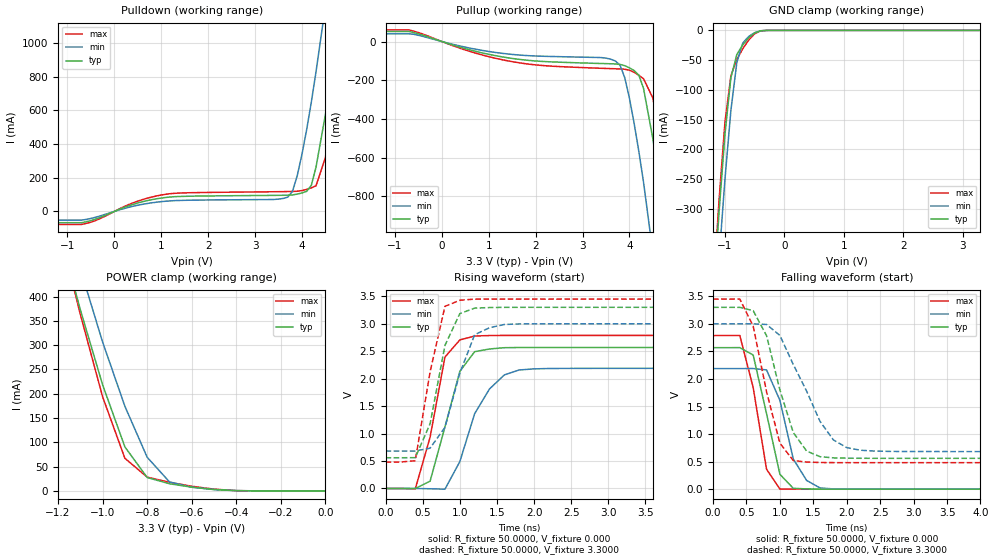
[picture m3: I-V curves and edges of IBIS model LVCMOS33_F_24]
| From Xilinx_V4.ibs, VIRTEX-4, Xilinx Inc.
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|   Model LVCMOS33_F_24
[Model]   LVCMOS33_F_24
Model_type   I/O
Polarity   Non-Inverting
Enable   Active-Low
Vinh = 2.0V
Vinl = 0.8V
Vmeas =   1.6500V
Cref =  0.000F
Rref =   1.0000M
Vref =  0.000V
C_comp   8.0000pF   8.0000pF   8.0000pF
[Temperature Range]   25.0000   85.0000   0.000
[Voltage Range]   3.3000V   3.0000V   3.4500V
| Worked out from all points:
|   slope of the pulldown table from 0 to 0.495 V, typ, clamps not added: 9.93 ohm
|   slope of the pullup table from 0 to 0.495 V, typ, clamps not added: 13.5 ohm
|   GND clamp passes 1 mA (typ) near -0.41 V on its own axis
|   POWER clamp passes 1 mA (typ) near -0.42 V on its own axis
|   rising waveform, R_fixture 50.0000, V_fixture 0.000: 20-80 % time 308ps typ, 392ps min, 258ps max; typ from 0 V to 2.57 V
|   rising waveform, R_fixture 50.0000, V_fixture 3.3000: 20-80 % time 273ps typ, 318ps min, 252ps max; typ from 0.56 V to 3.3 V
|   falling waveform, R_fixture 50.0000, V_fixture 0.000: 20-80 % time 284ps typ, 307ps min, 255ps max; typ from 2.57 V to 0 V
|   falling waveform, R_fixture 50.0000, V_fixture 3.3000: 20-80 % time 372ps typ, 554ps min, 331ps max; typ from 3.3 V to 0.56 V
[Pulldown]
| voltage   I(typ)   I(min)   I(max)
-3.3V     -66.77mA   -51.24mA   -76.94mA
-700mV    -66.77mA   -51.24mA   -76.94mA
1.1V      83.16mA    60.83mA    102mA
3.6V      95.97mA    77.24mA    117.6mA
3.8V      98.35mA    120mA      118.7mA
4.1V      119.2mA    484.2mA    130.8mA
4.2V      154.7mA    648.3mA    140mA
4.3V      262.9mA    828.5mA    152mA
4.5V      574mA      1.218A     319.5mA
4.7V      940.9mA    1.62A      674.2mA
4.9V      1.336A     2.022A     1.068A
6.6V      4.807A     5.455A     4.696A
[Pullup]
| voltage   I(typ)   I(min)   I(max)
-3.3V     52.17mA    39.91mA    60.09mA
-700mV    52.17mA    39.91mA    60.09mA
1.4V      -83.75mA   -64.15mA   -99.63mA
3.7V      -115.8mA   -100.7mA   -140.9mA
3.8V      -118.3mA   -122.6mA   -141.8mA
3.9V      -125mA     -187.1mA   -143.2mA
4.2V      -173.7mA   -568.3mA   -174.5mA
4.3V      -242.3mA   -727.1mA   -192.8mA
4.5V      -504mA     -1.094A    -292.2mA
4.7V      -837.5mA   -1.49A     -576.3mA
4.9V      -1.232A    -1.887A    -929.2mA
6.6V      -4.741A    -5.277A    -4.51A
[GND_clamp]
| voltage   I(typ)   I(min)   I(max)
-3.3V     -4.72A     -4.659A    -4.806A
-1.2V     -458.4mA   -535.2mA   -443.2mA
-1.1V     -307mA     -386mA     -286.5mA
-1V       -174.9mA   -250.6mA   -154.8mA
-900mV    -79.61mA   -134.7mA   -76.27mA
-800mV    -40.54mA   -53.98mA   -48.94mA
-700mV    -24.41mA   -21.32mA   -30.96mA
-600mV    -12.44mA   -10.24mA   -16.17mA
-500mV    -4.23mA    -3.859mA   -5.633mA
-400mV    -647uA     -794.1uA   -841.7uA
-300mV    -43.22uA   -80.71uA   -50.76uA
3.3V      335.4nA    78.77uA    333.2nA
[POWER_clamp]
| voltage   I(typ)   I(min)   I(max)
-3.3V     4.787A     4.834A     5.001A
-1.2V     543.3mA    626.5mA    548.4mA
-1.1V     373.1mA    457.2mA    363.5mA
-1V       218.5mA    306.5mA    193.9mA
-900mV    90.67mA    174.3mA    67.17mA
-800mV    27.68mA    69.38mA    28.46mA
-700mV    14.76mA    18.63mA    17.76mA
-600mV    7.79mA     7.541mA    9.625mA
-500mV    2.851mA    2.955mA    3.657mA
-400mV    489.6uA    668.4uA    637.8uA
0V        335.4nA    354.8nA    348.7nA
[Ramp]
| variable   typ   min   max
dV/dt_r   1.5408/0.2478n   1.3128/0.3210n   1.6728/0.2118n
dV/dt_f   1.6441/0.3653n   1.3906/0.4687n   1.7813/0.2865n
R_load = 50.0000
[Rising Waveform]
R_fixture = 50.0000
V_fixture = 0.000
| time   V(typ)   V(min)   V(max)
0s        0V         0V         0V
400ps     -1.114mV   -8.002uV   -7.834mV
600ps     133.6mV    -5.416mV   935.4mV
800ps     1.122V     -12.53mV   2.394V
1ns       2.133V     488.6mV    2.706V
1.2ns     2.492V     1.364V     2.777V
1.4ns     2.541V     1.813V     2.785V
1.6ns     2.564V     2.069V     2.788V
2ns       2.568V     2.179V     2.788V
10ns      2.568V     2.188V     2.788V
[Rising Waveform]
R_fixture = 50.0000
V_fixture = 3.3000
V_fixture_min = 3.0000
V_fixture_max = 3.4500
| time   V(typ)   V(min)   V(max)
0s        559.8mV    682.4mV    481.2mV
200ps     559.8mV    682.4mV    481.2mV
400ps     560.9mV    682.4mV    505.6mV
600ps     1.178V     734.9mV    2.127V
800ps     2.607V     1.113V     3.317V
1ns       3.185V     2.101V     3.428V
1.2ns     3.285V     2.801V     3.449V
1.4ns     3.296V     2.928V     3.449V
1.6ns     3.299V     2.987V     3.45V
10ns      3.3V       3V         3.45V
[Falling Waveform]
R_fixture = 50.0000
V_fixture = 0.000
| time   V(typ)   V(min)   V(max)
0s        2.568V     2.188V     2.788V
400ps     2.568V     2.188V     2.789V
600ps     2.435V     2.189V     1.844V
800ps     1.371V     2.164V     361mV
1ns       270mV      1.611V     2.246mV
1.2ns     15.45mV    547mV      1.292mV
1.4ns     4.24mV     158.4mV    412.1uV
1.6ns     578.4uV    22.27mV    8.66uV
2ns       53.39uV    696.9uV    -38.58uV
10ns      -18.9uV    -11.74uV   -54.84uV
[Falling Waveform]
R_fixture = 50.0000
V_fixture = 3.3000
V_fixture_min = 3.0000
V_fixture_max = 3.4500
| time   V(typ)   V(min)   V(max)
0s        3.3V       3V         3.45V
400ps     3.3V       3V         3.45V
600ps     3.24V      3V         2.96V
800ps     2.786V     2.989V     1.767V
1ns       1.799V     2.79V      834.6mV
1.2ns     1.027V     2.262V     519.7mV
1.4ns     691.6mV    1.777V     492.2mV
1.8ns     568.3mV    894.4mV    481.8mV
2.2ns     560.5mV    707.6mV    481.2mV
10ns      559.8mV    682.4mV    481.2mV
